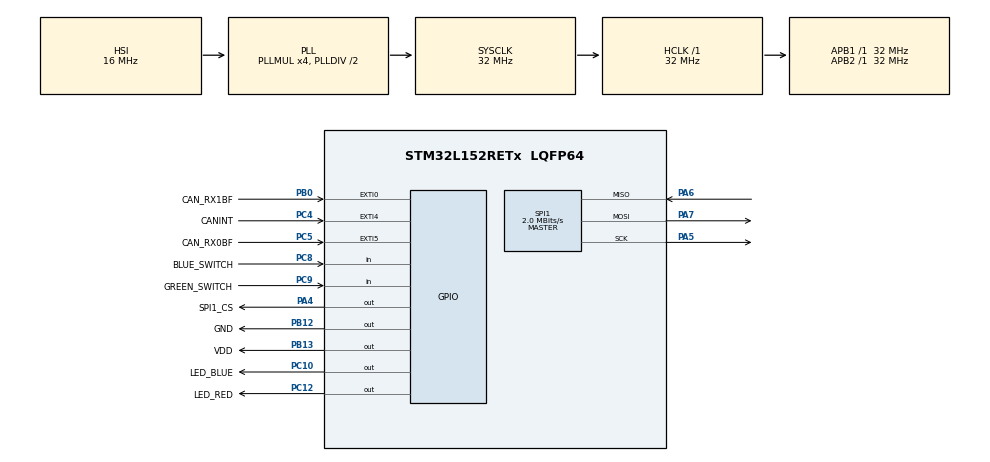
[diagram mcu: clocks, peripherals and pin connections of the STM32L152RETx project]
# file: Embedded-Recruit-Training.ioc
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FREERTOS.Mutexes01=SPIMutex,Dynamic,NULL
FREERTOS.Tasks01=defaultTask,24,128,StartDefaultTask,Default,NULL,Dynamic,NULL,NULL
FREERTOS.configUSE_NEWLIB_REENTRANT=1
Mcu.Family=STM32L1
Mcu.Name=STM32L152RETx
Mcu.Package=LQFP64
NVIC.EXTI9_5_IRQn=true\:5\:0\:false\:false\:true\:true\:true\:true\:true
NVIC.PriorityGroup=NVIC_PRIORITYGROUP_4
NVIC.TIM2_IRQn=true\:15\:0\:false\:false\:true\:false\:false\:true\:true
NVIC.TimeBase=TIM2_IRQn
NVIC.TimeBaseIP=TIM2
PA13.Mode=Trace_Asynchronous_SW
PA13.Signal=SYS_JTMS-SWDIO
PA14.Mode=Trace_Asynchronous_SW
PA14.Signal=SYS_JTCK-SWCLK
PA4.GPIO_Label=SPI1_CS
PA4.PinState=GPIO_PIN_SET
PA4.Signal=GPIO_Output
PA5.Mode=Full_Duplex_Master
PA5.Signal=SPI1_SCK
PA6.Mode=Full_Duplex_Master
PA6.Signal=SPI1_MISO
PA7.Mode=Full_Duplex_Master
PA7.Signal=SPI1_MOSI
PB0.GPIO_Label=CAN_RX1BF
PB0.GPIO_ModeDefaultEXTI=GPIO_MODE_IT_FALLING
PB0.Signal=GPXTI0
PB12.GPIO_Label=GND
PB12.PinState=GPIO_PIN_RESET
PB12.Signal=GPIO_Output
PB13.GPIO_Label=VDD
PB13.PinState=GPIO_PIN_SET
PB13.Signal=GPIO_Output
PB3.Mode=Trace_Asynchronous_SW
PB3.Signal=SYS_JTDO-TRACESWO
PC10.GPIO_Label=LED_BLUE
PC10.Signal=GPIO_Output
PC12.GPIO_Label=LED_RED
PC12.Signal=GPIO_Output
PC4.GPIO_Label=CANINT
PC4.GPIO_ModeDefaultEXTI=GPIO_MODE_IT_FALLING
PC4.Signal=GPXTI4
PC5.GPIO_Label=CAN_RX0BF
PC5.GPIO_ModeDefaultEXTI=GPIO_MODE_IT_FALLING
PC5.Signal=GPXTI5
PC8.GPIO_Label=BLUE_SWITCH
PC8.Signal=GPIO_Input
PC9.GPIO_Label=GREEN_SWITCH
PC9.Signal=GPIO_Input
ProjectManager.HeapSize=0x200
ProjectManager.StackSize=0x400
ProjectManager.TargetToolchain=STM32CubeIDE
RCC.48MHZClocksFreq_Value=32000000
RCC.AHBFreq_Value=32000000
RCC.APB1Freq_Value=32000000
RCC.APB1TimFreq_Value=32000000
RCC.APB2Freq_Value=32000000
RCC.APB2TimFreq_Value=32000000
RCC.HCLKFreq_Value=32000000
RCC.HSE_VALUE=24000000
RCC.HSI_VALUE=16000000
RCC.LSE_VALUE=32768
RCC.MSI_VALUE=2097000
RCC.PLLMUL=RCC_PLL_MUL4
RCC.SYSCLKFreq_VALUE=32000000
RCC.SYSCLKSource=RCC_SYSCLKSOURCE_PLLCLK
RCC.VCOOutputFreq_Value=64000000
SPI1.BaudRatePrescaler=SPI_BAUDRATEPRESCALER_16
SPI1.CLKPhase=SPI_PHASE_2EDGE
SPI1.CLKPolarity=SPI_POLARITY_HIGH
SPI1.CalculateBaudRate=2.0 MBits/s
SPI1.Direction=SPI_DIRECTION_2LINES
SPI1.Mode=SPI_MODE_MASTER
SPI1.VirtualType=VM_MASTER
VP_FREERTOS_VS_CMSIS_V2.Mode=CMSIS_V2
VP_SYS_VS_tim2.Mode=TIM2
board=custom

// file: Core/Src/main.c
/* USER CODE BEGIN Header */
/**
  ******************************************************************************
  * @file           : main.c
  * @brief          : Main program body
  ******************************************************************************
  * @attention
  *
  * Copyright (c) 2022 STMicroelectronics.
  * All rights reserved.
  *
  * This software is licensed under terms that can be found in the LICENSE file
  * in the root directory of this software component.
  * If no LICENSE file comes with this software, it is provided AS-IS.
  *
  ******************************************************************************
  */
/* USER CODE END Header */
#include "main.h"
#include "cmsis_os.h"

/* USER CODE BEGIN Includes */
#include "CAN.h"
#include "BlueSwitchTask.h"
#include "GreenSwitch.h"
#include "FreeRTOS.h"
#include "task.h"
/* USER CODE END Includes */

/* USER CODE BEGIN PD */
#define CAN_INTERRUPT_QUEUE_COUNT 3 // anticipate 2 sudden messages + 1 for extra room
/* USER CODE END PD */

SPI_HandleTypeDef hspi1;

/* Definitions for defaultTask */
osThreadId_t defaultTaskHandle;
const osThreadAttr_t defaultTask_attributes = {
  .name = "defaultTask",
  .stack_size = 128 * 4,
  .priority = (osPriority_t) osPriorityNormal,
};
/* Definitions for SPIMutex */
osMutexId_t SPIMutexHandle;
const osMutexAttr_t SPIMutex_attributes = {
  .name = "SPIMutex"
};
/* USER CODE BEGIN PV */

uint8_t blueStatus;

/* Definitions for defaultTask */
osThreadId_t blueSwitchTaskHandle;
const osThreadAttr_t blueSwitchTask_attributes = {
  .name = "defaultTask",
  .stack_size = 128 * 4,
  .priority = (osPriority_t) osPriorityNormal,
};

uint8_t greenStatus;

osThreadId_t greenSwitchHandle;
const osThreadAttr_t greenSwitch_attributes = {
  .name = "defaultTask",
  .stack_size = 128 * 4,
  .priority = (osPriority_t) osPriorityNormal,
};
osMessageQueueId_t CANInterruptQueue;

/* USER CODE END PV */

void SystemClock_Config(void);
static void MX_GPIO_Init(void);
static void MX_SPI1_Init(void);
void StartDefaultTask(void *argument);

int main(void)
{

  /* MCU Configuration--------------------------------------------------------*/

  /* Reset of all peripherals, Initializes the Flash interface and the Systick. */
  HAL_Init();

  /* Configure the system clock */
  SystemClock_Config();

  /* Initialize all configured peripherals */
  MX_GPIO_Init();
  MX_SPI1_Init();
  /* USER CODE BEGIN 2 */
  ConfigureCANSPI();
  //HAL_SPI_Receive_IT(&hspi2, buffer, 1);
  /* USER CODE END 2 */

  /* Init scheduler */
  osKernelInitialize();
  /* Create the mutex(es) */
  /* creation of SPIMutex */
  SPIMutexHandle = osMutexNew(&SPIMutex_attributes);

  /* USER CODE BEGIN RTOS_QUEUES */
  CANInterruptQueue = osMessageQueueNew(CAN_INTERRUPT_QUEUE_COUNT, sizeof(uint16_t), NULL);
  /* USER CODE END RTOS_QUEUES */

  /* Create the thread(s) */
  /* creation of defaultTask */
  defaultTaskHandle = osThreadNew(StartDefaultTask, NULL, &defaultTask_attributes);

  /* USER CODE BEGIN RTOS_THREADS */
  blueSwitchTaskHandle = osThreadNew((osThreadFunc_t)blueSwitchTask, NULL, &blueSwitchTask_attributes);
  greenSwitchHandle = osThreadNew((osThreadFunc_t)greenSwitch, NULL, &greenSwitch_attributes);
  /* USER CODE END RTOS_THREADS */

  /* Start scheduler */
  osKernelStart();

  /* We should never get here as control is now taken by the scheduler */
  /* Infinite loop */
  while (1)
  {

  }
}

void SystemClock_Config(void)
{
  RCC_OscInitTypeDef RCC_OscInitStruct = {0};
  RCC_ClkInitTypeDef RCC_ClkInitStruct = {0};

  /** Configure the main internal regulator output voltage
  */
  __HAL_PWR_VOLTAGESCALING_CONFIG(PWR_REGULATOR_VOLTAGE_SCALE1);

  /** Initializes the RCC Oscillators according to the specified parameters
  * in the RCC_OscInitTypeDef structure.
  */
  RCC_OscInitStruct.OscillatorType = RCC_OSCILLATORTYPE_HSI;
  RCC_OscInitStruct.HSIState = RCC_HSI_ON;
  RCC_OscInitStruct.HSICalibrationValue = RCC_HSICALIBRATION_DEFAULT;
  RCC_OscInitStruct.PLL.PLLState = RCC_PLL_ON;
  RCC_OscInitStruct.PLL.PLLSource = RCC_PLLSOURCE_HSI;
  RCC_OscInitStruct.PLL.PLLMUL = RCC_PLL_MUL4;
  RCC_OscInitStruct.PLL.PLLDIV = RCC_PLL_DIV2;
  if (HAL_RCC_OscConfig(&RCC_OscInitStruct) != HAL_OK)
  {
    Error_Handler();
  }

  /** Initializes the CPU, AHB and APB buses clocks
  */
  RCC_ClkInitStruct.ClockType = RCC_CLOCKTYPE_HCLK|RCC_CLOCKTYPE_SYSCLK
                              |RCC_CLOCKTYPE_PCLK1|RCC_CLOCKTYPE_PCLK2;
  RCC_ClkInitStruct.SYSCLKSource = RCC_SYSCLKSOURCE_PLLCLK;
  RCC_ClkInitStruct.AHBCLKDivider = RCC_SYSCLK_DIV1;
  RCC_ClkInitStruct.APB1CLKDivider = RCC_HCLK_DIV1;
  RCC_ClkInitStruct.APB2CLKDivider = RCC_HCLK_DIV1;

  if (HAL_RCC_ClockConfig(&RCC_ClkInitStruct, FLASH_LATENCY_1) != HAL_OK)
  {
    Error_Handler();
  }
}

static void MX_SPI1_Init(void)
{

  /* SPI1 parameter configuration*/
  hspi1.Instance = SPI1;
  hspi1.Init.Mode = SPI_MODE_MASTER;
  hspi1.Init.Direction = SPI_DIRECTION_2LINES;
  hspi1.Init.DataSize = SPI_DATASIZE_8BIT;
  hspi1.Init.CLKPolarity = SPI_POLARITY_HIGH;
  hspi1.Init.CLKPhase = SPI_PHASE_2EDGE;
  hspi1.Init.NSS = SPI_NSS_SOFT;
  hspi1.Init.BaudRatePrescaler = SPI_BAUDRATEPRESCALER_16;
  hspi1.Init.FirstBit = SPI_FIRSTBIT_MSB;
  hspi1.Init.TIMode = SPI_TIMODE_DISABLE;
  hspi1.Init.CRCCalculation = SPI_CRCCALCULATION_DISABLE;
  hspi1.Init.CRCPolynomial = 10;
  if (HAL_SPI_Init(&hspi1) != HAL_OK)
  {
    Error_Handler();
  }

}

static void MX_GPIO_Init(void)
{
  GPIO_InitTypeDef GPIO_InitStruct = {0};

  /* GPIO Ports Clock Enable */
  __HAL_RCC_GPIOA_CLK_ENABLE();
  __HAL_RCC_GPIOC_CLK_ENABLE();
  __HAL_RCC_GPIOB_CLK_ENABLE();

  /*Configure GPIO pin Output Level */
  HAL_GPIO_WritePin(SPI1_CS_GPIO_Port, SPI1_CS_Pin, GPIO_PIN_SET);

  /*Configure GPIO pin Output Level */
  HAL_GPIO_WritePin(GND_GPIO_Port, GND_Pin, GPIO_PIN_RESET);

  /*Configure GPIO pin Output Level */
  HAL_GPIO_WritePin(VDD_GPIO_Port, VDD_Pin, GPIO_PIN_SET);

  /*Configure GPIO pin Output Level */
  HAL_GPIO_WritePin(GPIOC, LED_BLUE_Pin|LED_RED_Pin, GPIO_PIN_RESET);

  /*Configure GPIO pin : SPI1_CS_Pin */
  GPIO_InitStruct.Pin = SPI1_CS_Pin;
  GPIO_InitStruct.Mode = GPIO_MODE_OUTPUT_PP;
  GPIO_InitStruct.Pull = GPIO_NOPULL;
  GPIO_InitStruct.Speed = GPIO_SPEED_FREQ_LOW;
  HAL_GPIO_Init(SPI1_CS_GPIO_Port, &GPIO_InitStruct);

  /*Configure GPIO pins : CANINT_Pin CAN_RX0BF_Pin */
  GPIO_InitStruct.Pin = CANINT_Pin|CAN_RX0BF_Pin;
  GPIO_InitStruct.Mode = GPIO_MODE_IT_FALLING;
  GPIO_InitStruct.Pull = GPIO_NOPULL;
  HAL_GPIO_Init(GPIOC, &GPIO_InitStruct);

  /*Configure GPIO pin : CAN_RX1BF_Pin */
  GPIO_InitStruct.Pin = CAN_RX1BF_Pin;
  GPIO_InitStruct.Mode = GPIO_MODE_IT_FALLING;
  GPIO_InitStruct.Pull = GPIO_NOPULL;
  HAL_GPIO_Init(CAN_RX1BF_GPIO_Port, &GPIO_InitStruct);

  /*Configure GPIO pins : GND_Pin VDD_Pin */
  GPIO_InitStruct.Pin = GND_Pin|VDD_Pin;
  GPIO_InitStruct.Mode = GPIO_MODE_OUTPUT_PP;
  GPIO_InitStruct.Pull = GPIO_NOPULL;
  GPIO_InitStruct.Speed = GPIO_SPEED_FREQ_LOW;
  HAL_GPIO_Init(GPIOB, &GPIO_InitStruct);

  /*Configure GPIO pins : BLUE_SWITCH_Pin GREEN_SWITCH_Pin */
  GPIO_InitStruct.Pin = BLUE_SWITCH_Pin|GREEN_SWITCH_Pin;
  GPIO_InitStruct.Mode = GPIO_MODE_INPUT;
  GPIO_InitStruct.Pull = GPIO_NOPULL;
  HAL_GPIO_Init(GPIOC, &GPIO_InitStruct);

  /*Configure GPIO pins : LED_BLUE_Pin LED_RED_Pin */
  GPIO_InitStruct.Pin = LED_BLUE_Pin|LED_RED_Pin;
  GPIO_InitStruct.Mode = GPIO_MODE_OUTPUT_PP;
  GPIO_InitStruct.Pull = GPIO_NOPULL;
  GPIO_InitStruct.Speed = GPIO_SPEED_FREQ_LOW;
  HAL_GPIO_Init(GPIOC, &GPIO_InitStruct);

  /* EXTI interrupt init*/
  HAL_NVIC_SetPriority(EXTI9_5_IRQn, 5, 0);
  HAL_NVIC_EnableIRQ(EXTI9_5_IRQn);

}

/* USER CODE BEGIN 4 */

void HAL_GPIO_EXTI_Callback(uint16_t GPIO_Pin)
{
	osMessageQueuePut(CANInterruptQueue, &GPIO_Pin, 0, TASK_QUEUE_TIMEOUT);
}
/* USER CODE END 4 */

void StartDefaultTask(void *argument)
{
  /* USER CODE BEGIN 5 */
	int iterator = 0;
	for(;;){
		osDelayUntil(1);
      if(blueStatus) {
        HAL_GPIO_TogglePin(LED_BLUE_GPIO_Port, LED_BLUE_Pin);
        blueStatus = 0;
      }

      if(greenStatus){
        HAL_GPIO_TogglePin(LED_RED_GPIO_Port, LED_RED_Pin);
      }
    iterator++;
	}
  /* USER CODE END 5 */
}

void HAL_TIM_PeriodElapsedCallback(TIM_HandleTypeDef *htim)
{
  if (htim->Instance == TIM2) {
    HAL_IncTick();
  }
}

void Error_Handler(void)
{
  __disable_irq();
  while (1)
  {
  }
}
